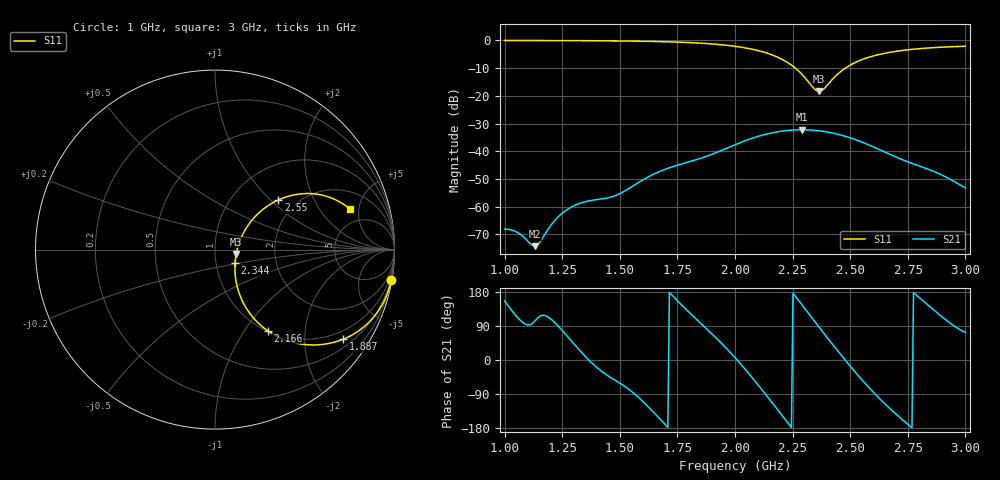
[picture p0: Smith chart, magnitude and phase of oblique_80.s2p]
! TOUCHSTONE file generated by CST MICROWAVE STUDIO
! Date and time: Tue Mar 18 00:01:35 2025
! Project name: oblique.cst
! Parameters = {Tilt=30; Fracture=1; B=12.5; D=160; F=15; Feed=2.85625; L=100; M=50; R=0.384908; S=1; Theta=180; length=57.125; wave=114.25}
! Header version: 2024
! Port assignment regex: !\s*Touchstone port\s*([0-9]+)\s*=\s*(CST MWS port|CST DES external port|CST DES block port)\s*(.+)\s* \(\"(.*)\"\)(\s*mode\s*([0-9]+))?.*
! Touchstone port assignment:
! Touchstone port 1 = CST MWS port 1 ("")
! Touchstone port 2 = CST MWS port 2 ("")
# GHz S DB R 50
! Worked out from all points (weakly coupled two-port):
!   303 points, 1 GHz to 3 GHz, reference 50 ohm
!   highest |S21| = -32.25 dB at 2.291 GHz (marker M1); lowest = -74.3 dB at 1.132 GHz (marker M2)
!   lowest |S11| = -18.4 dB at 2.364 GHz (marker M3), VSWR 1.27, Z = 63.3 - j3.13 ohm
!   |S11| at or under -10 dB: 2.262 GHz to 2.479 GHz (217.5 MHz wide, 9.18 % of centre)
!   S12 and S22 are empty: the file has one direction only
!   S11 on the Smith chart (normalised r, x): 1 GHz: 0, -12; 1.887 GHz: 0.73, -3.01; 2.166 GHz: 1.01, -1.28; 2.344 GHz: 1.24, -0.19; 2.55 GHz: 1.61, +1.11; 3 GHz: 3.45, +4.04
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1  -0.02 -9.9  -68.10 156.2  -200.00 0.0  -200.00 0.0
1.05298  -0.03 -10.6  -69.16 114.4  -200.00 0.0  -200.00 0.0
1.13245  -0.04 -11.8  -74.25 103.5  -200.00 0.0  -200.00 0.0
1.15232  -0.04 -12.1  -72.92 115.2  -200.00 0.0  -200.00 0.0
1.19868  -0.05 -12.8  -66.97 109.3  -200.00 0.0  -200.00 0.0
1.23841  -0.07 -13.5  -63.21 85.8  -200.00 0.0  -200.00 0.0
1.33775  -0.10 -15.4  -58.47 17.6  -200.00 0.0  -200.00 0.0
1.48344  -0.18 -18.7  -55.91 -54.7  -200.00 0.0  -200.00 0.0
1.66887  -0.42 -24.6  -47.44 -152.0  -200.00 0.0  -200.00 0.0
1.88742  -1.20 -35.0  -41.49 76.3  -200.00 0.0  -200.00 0.0
2  -2.13 -42.7  -37.63 6.3  -200.00 0.0  -200.00 0.0
2.16556  -5.38 -57.0  -33.27 -115.7  -200.00 0.0  -200.00 0.0
2.23179  -8.18 -61.6  -32.47 -167.8  -200.00 0.0  -200.00 0.0
2.29139  -12.32 -59.2  -32.25 144.9  -200.00 0.0  -200.00 0.0
2.33775  -16.88 -39.3  -32.40 108.2  -200.00 0.0  -200.00 0.0
2.34437  -17.46 -33.5  -32.44 103.0  -200.00 0.0  -200.00 0.0
2.36424  -18.38 -11.7  -32.61 87.3  -200.00 0.0  -200.00 0.0
2.4702  -10.52 39.6  -34.38 5.9  -200.00 0.0  -200.00 0.0
2.54967  -6.98 38.1  -36.64 -51.3  -200.00 0.0  -200.00 0.0
2.66887  -4.35 31.0  -40.99 -126.2  -200.00 0.0  -200.00 0.0
2.88079  -2.52 20.5  -47.92 122.9  -200.00 0.0  -200.00 0.0
3  -2.09 16.5  -53.20 73.0  -200.00 0.0  -200.00 0.0
